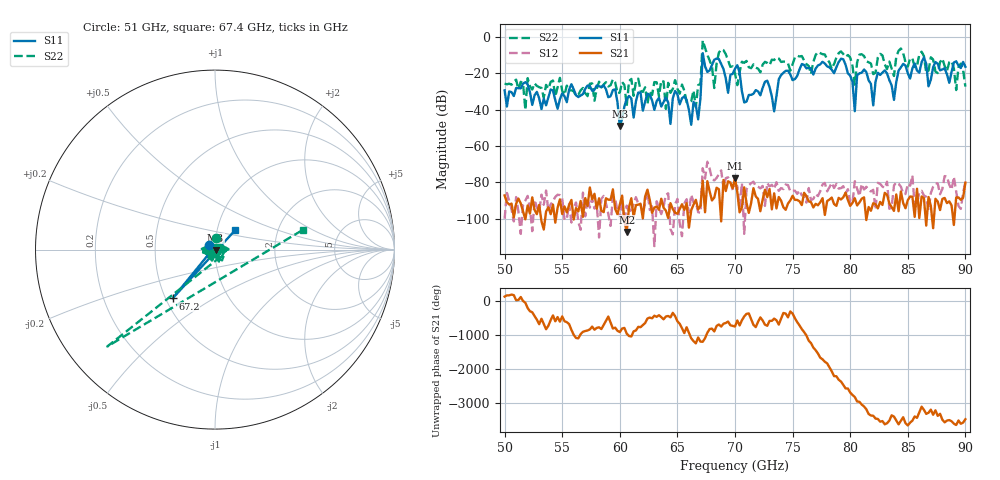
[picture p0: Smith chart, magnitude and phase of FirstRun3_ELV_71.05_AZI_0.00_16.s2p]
! 11/24/2026 3:34:29 PM
! C:\ANRITSUVNA\TEMP\TEMP.S2P
! CHANNEL.1
! TR.MEASUREMENT
! RAW.DATA
# HZ S RI R 50.0
! FREQ.HZ  S11RE  S11IM  S21RE  S21IM  S12RE  S12IM  S22RE  S22IM
!; PortSelection: Port_12
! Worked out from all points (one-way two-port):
!   201 points, 50 GHz to 90 GHz, reference 50 ohm
!   highest |S21| = -77.68 dB at 70 GHz (marker M1); lowest = -107.3 dB at 60.6 GHz (marker M2)
!   lowest |S11| = -48.9 dB at 60 GHz (marker M3), VSWR 1.01, Z = 50.3 - j0.153 ohm
!   |S11| at or under -10 dB: start of sweep to 67.19 GHz; 67.23 GHz to end of sweep
!   |S22| runs from -40.0 to -1.9 dB; largest |S21 - S12| = 0.00048
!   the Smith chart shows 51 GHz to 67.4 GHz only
!   S11 on the Smith chart (normalised r, x): 51 GHz: 0.94, +0.05; 67.2 GHz: 0.54, -0.34; 67.4 GHz: 1.22, +0.27
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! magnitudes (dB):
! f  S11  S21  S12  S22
! 50 GHz  -29.4  -87.2  -100.0  -25.6
! 51 GHz  -28.1  -91.7  -88.1  -23.4
! 51.8 GHz  -24.8  -100.4  -90.1  -40.0
! 56.8 GHz  -31.4  -99.0  -85.7  -28.0
! 59.6 GHz  -28.8  -94.7  -89.1  -25.0
! 60 GHz  -48.9  -92.3  -99.5  -30.5
! 60.6 GHz  -34.0  -107.3  -92.8  -37.9
! 63.4 GHz  -33.4  -95.1  -94.0  -32.6
! 66.8 GHz  -45.3  -94.9  -96.5  -26.5
! 67.2 GHz  -8.9  -79.1  -72.2  -1.9
! 67.4 GHz  -16.1  -96.5  -77.9  -5.9
! 68.2 GHz  -12.5  -88.4  -78.9  -28.0
! 68.8 GHz  -14.8  -101.5  -73.4  -6.7
! 70 GHz  -17.4  -77.7  -81.3  -19.9
! 73.4 GHz  -40.9  -86.0  -83.6  -12.6
! 74.2 GHz  -19.7  -93.7  -83.7  -13.5
! 76.8 GHz  -20.7  -93.8  -89.1  -13.6
! 79.4 GHz  -12.2  -88.2  -82.1  -9.4
! 80.4 GHz  -40.8  -88.7  -79.4  -26.2
! 80.6 GHz  -21.0  -92.7  -83.5  -14.0
! 83.4 GHz  -23.7  -91.6  -94.6  -13.5
! 90 GHz  -16.4  -80.2  -79.8  -27.3
